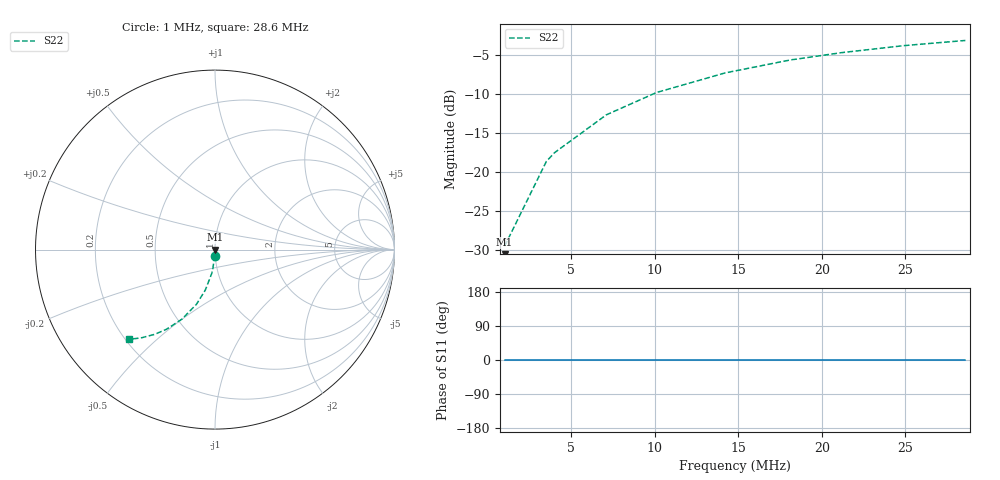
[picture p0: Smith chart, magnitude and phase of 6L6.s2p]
! ea3ghs(at)gmail.com
! 6L6 common grid VPP=311 IPP=72m
! output impedance 1675//6.3pF
#MHz S MA R 1675
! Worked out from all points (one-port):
!   10 points, 1 MHz to 28.6 MHz, reference 1675 ohm
!   lowest |S11| = - dB at 1 MHz (marker M1), VSWR 1.00, Z = 1.68e+03 + j0 ohm
!   |S11| at or under -10 dB: start of sweep to end of sweep
1  0 0.0  0 0.0  0 0.0  0.0337 -91.9
3.5  0 0.0  0 0.0  0 0.0  0.1171 -96.7
4  0 0.0  0 0.0  0 0.0  0.1335 -97.7
7.1  0 0.0  0 0.0  0 0.0  0.2326 -103.5
10.1  0 0.0  0 0.0  0 0.0  0.3227 -108.8
14.2  0 0.0  0 0.0  0 0.0  0.4302 -115.5
18.1  0 0.0  0 0.0  0 0.0  0.5205 -121.4
21.2  0 0.0  0 0.0  0 0.0  0.5802 -125.5
24.9  0 0.0  0 0.0  0 0.0  0.6426 -130.0
28.6  0 0.0  0 0.0  0 0.0  0.6937 -133.9
